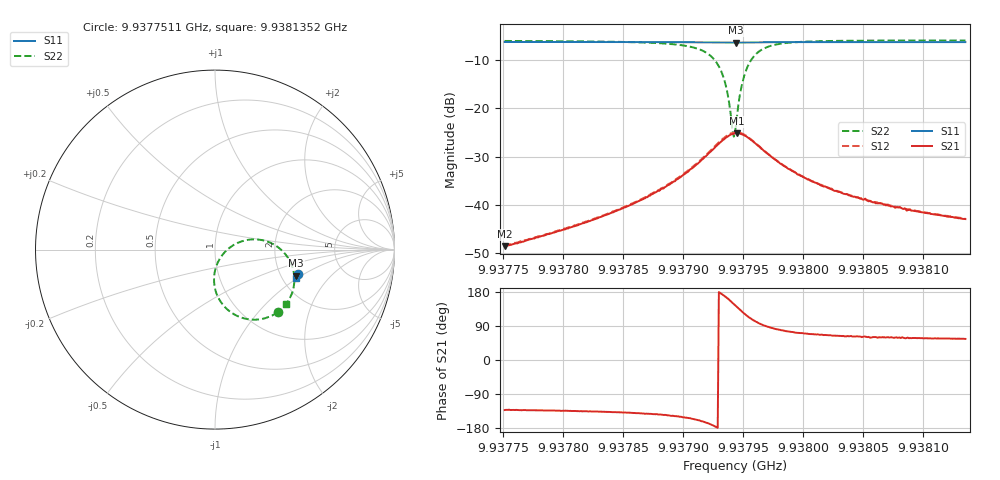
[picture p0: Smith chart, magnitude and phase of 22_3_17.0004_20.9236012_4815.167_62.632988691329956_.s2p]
#  HZ  S  RI  R  50.00
! Rohde & Schwarz Vector Network Analyzer
! Rohde-Schwarz,ZNB20-2Port,1311601062101988,3.16
! Created: UTC 3/20/2024, 10:53:02 PM
! freq[Hz]  re:S11  im:S11  re:S21  im:S21  re:S12  im:S12  re:S22  im:S22
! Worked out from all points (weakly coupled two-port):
!   401 points, 9.9377511 GHz to 9.9381352 GHz, reference 50 ohm
!   highest |S21| = -25.19 dB at 9.9379451 GHz (marker M1); lowest = -48.5 dB at 9.9377511 GHz (marker M2)
!   lowest |S11| = -6.5 dB at 9.9379441 GHz (marker M3), VSWR 2.80, Z = 120 - j44.9 ohm
!   |S11| at or under -10 dB: nowhere
!   |S22| runs from -25.9 to -6.0 dB; largest |S21 - S12| = 0.0026
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9.93775112e9  0.462 -0.1353  -0.00252 -0.00279  -0.00252 -0.00281  0.3506 -0.3474
9.93781546e9  0.4602 -0.1399  -0.00456 -0.00454  -0.00467 -0.0045  0.3285 -0.3615
9.93785291e9  0.459 -0.1425  -0.00726 -0.00634  -0.00747 -0.00634  0.3025 -0.374
9.9378798e9  0.4579 -0.1446  -0.0113 -0.00825  -0.0117 -0.00825  0.2657 -0.3854
9.93790956e9  0.4559 -0.147  -0.0231 -0.01  -0.0239 -0.0098  0.1668 -0.3846
9.93792493e9  0.4535 -0.1477  -0.0374 -0.00485  -0.0386 -0.00395  0.0571 -0.3222
9.93792973e9  0.4526 -0.1475  -0.0429 0.000571  -0.0445 0.00187  0.019 -0.2692
9.93793357e9  0.452 -0.1471  -0.0466 0.00748  -0.048 0.00912  -0.00185 -0.2079
9.93793645e9  0.4516 -0.1466  -0.0484 0.0139  -0.0495 0.016  -0.00513 -0.1518
9.93794125e9  0.4513 -0.1453  -0.0471 0.0266  -0.0475 0.0291  0.0265 -0.0513
9.93794317e9  0.4516 -0.1448  -0.045 0.0316  -0.0449 0.0341  0.0536 -0.0151
9.93794413e9  0.4515 -0.1446  -0.0432 0.0339  -0.043 0.0363  0.07 0.00103
9.93794509e9  0.4517 -0.1443  -0.0415 0.0361  -0.0412 0.0385  0.0876 0.015
9.93794798e9  0.4521 -0.1439  -0.0352 0.0411  -0.0344 0.0434  0.1461 0.0452
9.93795086e9  0.4529 -0.1434  -0.0282 0.0441  -0.0269 0.046  0.208 0.0569
9.9379547e9  0.4539 -0.1435  -0.019 0.0451  -0.0177 0.0463  0.281 0.0481
9.93796046e9  0.455 -0.144  -0.00845 0.0421  -0.00719 0.0428  0.3594 0.00693
9.93797582e9  0.4565 -0.146  0.00366 0.0297  0.00456 0.0297  0.4348 -0.1102
9.93800751e9  0.4562 -0.1494  0.00647 0.0162  0.00697 0.0162  0.4357 -0.2209
9.93804016e9  0.4555 -0.1523  0.00556 0.011  0.00593 0.011  0.4208 -0.2629
9.93807185e9  0.4545 -0.1547  0.00504 0.00853  0.00515 0.00845  0.4099 -0.2833
9.93813523e9  0.4528 -0.1589  0.00404 0.00591  0.00414 0.00589  0.3955 -0.3048
